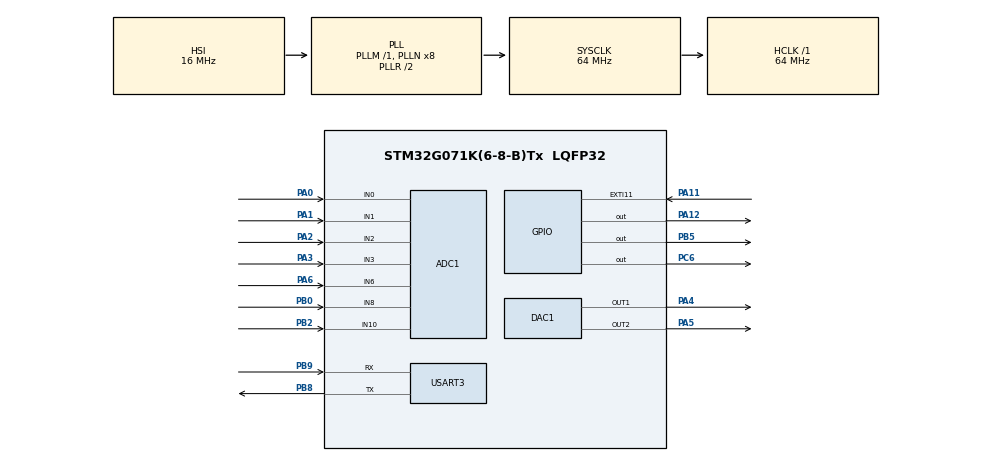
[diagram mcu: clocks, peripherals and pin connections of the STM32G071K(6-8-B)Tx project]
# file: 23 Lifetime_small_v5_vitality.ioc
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ADC1.Channel-0\#ChannelRegularConversion=ADC_CHANNEL_1
ADC1.Channel-1\#ChannelRegularConversion=ADC_CHANNEL_0
ADC1.Channel-2\#ChannelRegularConversion=ADC_CHANNEL_2
ADC1.Channel-3\#ChannelRegularConversion=ADC_CHANNEL_3
ADC1.Channel-4\#ChannelRegularConversion=ADC_CHANNEL_6
ADC1.Channel-5\#ChannelRegularConversion=ADC_CHANNEL_8
ADC1.Channel-6\#ChannelRegularConversion=ADC_CHANNEL_10
ADC1.Channel-7\#ChannelRegularConversion=ADC_CHANNEL_1
ADC1.ContinuousConvMode=ENABLE
ADC1.DMAContinuousRequests=ENABLE
ADC1.EOCSelection=ADC_EOC_SEQ_CONV
ADC1.NbrOfConversion=8
ADC1.NbrOfConversionFlag=1
ADC1.Overrun=ADC_OVR_DATA_OVERWRITTEN
ADC1.OversamplingMode=DISABLE
ADC1.Rank-0\#ChannelRegularConversion=1
ADC1.Rank-1\#ChannelRegularConversion=2
ADC1.Rank-2\#ChannelRegularConversion=3
ADC1.Rank-3\#ChannelRegularConversion=4
ADC1.Rank-4\#ChannelRegularConversion=5
ADC1.Rank-5\#ChannelRegularConversion=6
ADC1.Rank-6\#ChannelRegularConversion=7
ADC1.Rank-7\#ChannelRegularConversion=8
ADC1.SamplingTime-0\#ChannelRegularConversion=ADC_SAMPLINGTIME_COMMON_1
ADC1.SamplingTime-1\#ChannelRegularConversion=ADC_SAMPLINGTIME_COMMON_1
ADC1.SamplingTime-2\#ChannelRegularConversion=ADC_SAMPLINGTIME_COMMON_1
ADC1.SamplingTime-3\#ChannelRegularConversion=ADC_SAMPLINGTIME_COMMON_1
ADC1.SamplingTime-4\#ChannelRegularConversion=ADC_SAMPLINGTIME_COMMON_1
ADC1.SamplingTime-5\#ChannelRegularConversion=ADC_SAMPLINGTIME_COMMON_1
ADC1.SamplingTime-6\#ChannelRegularConversion=ADC_SAMPLINGTIME_COMMON_1
ADC1.SamplingTime-7\#ChannelRegularConversion=ADC_SAMPLINGTIME_COMMON_1
ADC1.SamplingTimeCommon1=ADC_SAMPLETIME_19CYCLES_5
ADC1.SamplingTimeCommon2=ADC_SAMPLETIME_19CYCLES_5
ADC1.SelectedChannel=ADC_CHANNEL_0|ADC_CHANNEL_1|ADC_CHANNEL_2|ADC_CHANNEL_3|ADC_CHANNEL_6|ADC_CHANNEL_8|ADC_CHANNEL_10
ADC1.master=1
DAC1.DAC_Channel-DAC_OUT1=DAC_CHANNEL_1
DAC1.DAC_Channel-DAC_OUT2=DAC_CHANNEL_2
Dma.ADC1.0.Direction=DMA_PERIPH_TO_MEMORY
Dma.ADC1.0.EventEnable=DISABLE
Dma.ADC1.0.Instance=DMA1_Channel1
Dma.ADC1.0.MemDataAlignment=DMA_MDATAALIGN_WORD
Dma.ADC1.0.MemInc=DMA_MINC_ENABLE
Dma.ADC1.0.Mode=DMA_CIRCULAR
Dma.ADC1.0.PeriphDataAlignment=DMA_PDATAALIGN_WORD
Dma.ADC1.0.PeriphInc=DMA_PINC_DISABLE
Dma.ADC1.0.Polarity=HAL_DMAMUX_REQ_GEN_RISING
Dma.ADC1.0.Priority=DMA_PRIORITY_VERY_HIGH
Dma.ADC1.0.RequestNumber=1
Dma.ADC1.0.SignalID=NONE
Dma.ADC1.0.SyncEnable=DISABLE
Dma.ADC1.0.SyncPolarity=HAL_DMAMUX_SYNC_NO_EVENT
Dma.ADC1.0.SyncRequestNumber=1
Dma.ADC1.0.SyncSignalID=NONE
Dma.Request0=ADC1
Dma.Request1=USART3_TX
Dma.USART3_TX.1.Direction=DMA_MEMORY_TO_PERIPH
Dma.USART3_TX.1.EventEnable=DISABLE
Dma.USART3_TX.1.Instance=DMA1_Channel2
Dma.USART3_TX.1.MemDataAlignment=DMA_MDATAALIGN_BYTE
Dma.USART3_TX.1.MemInc=DMA_MINC_ENABLE
Dma.USART3_TX.1.Mode=DMA_NORMAL
Dma.USART3_TX.1.PeriphDataAlignment=DMA_PDATAALIGN_BYTE
Dma.USART3_TX.1.PeriphInc=DMA_PINC_DISABLE
Dma.USART3_TX.1.Polarity=HAL_DMAMUX_REQ_GEN_RISING
Dma.USART3_TX.1.Priority=DMA_PRIORITY_MEDIUM
Dma.USART3_TX.1.RequestNumber=1
Dma.USART3_TX.1.SignalID=NONE
Dma.USART3_TX.1.SyncEnable=DISABLE
Dma.USART3_TX.1.SyncPolarity=HAL_DMAMUX_SYNC_NO_EVENT
Dma.USART3_TX.1.SyncRequestNumber=1
Dma.USART3_TX.1.SyncSignalID=NONE
LPTIM1.ClockPrescaler=LPTIM_PRESCALER_DIV128
Mcu.Family=STM32G0
Mcu.Name=STM32G071K(6-8-B)Tx
Mcu.Package=LQFP32
NVIC.ADC1_COMP_IRQn=true\:1\:0\:true\:false\:true\:true\:true\:true
NVIC.DMA1_Channel1_IRQn=true\:1\:0\:true\:false\:true\:false\:true\:true
NVIC.DMA1_Channel2_3_IRQn=true\:1\:0\:true\:false\:true\:false\:true\:true
NVIC.EXTI4_15_IRQn=true\:0\:0\:false\:false\:true\:true\:true\:true
NVIC.PVD_IRQn=true\:1\:0\:true\:false\:true\:true\:true\:true
NVIC.TIM16_IRQn=true\:2\:0\:true\:false\:true\:true\:true\:true
NVIC.TIM6_DAC_LPTIM1_IRQn=true\:1\:0\:true\:false\:true\:true\:true\:true
NVIC.USART3_4_LPUART1_IRQn=true\:2\:0\:true\:false\:true\:true\:true\:true
PA0.Mode=IN0
PA0.Signal=ADC1_IN0
PA1.Mode=IN1
PA1.Signal=ADC1_IN1
PA10.Signal=S_TIM1_CH3
PA11\ [PA9].GPIO_ModeDefaultEXTI=GPIO_MODE_IT_RISING_FALLING
PA11\ [PA9].GPIO_PuPd=GPIO_NOPULL
PA11\ [PA9].Signal=GPXTI11
PA12\ [PA10].Signal=GPIO_Output
PA13.Mode=Serial_Wire
PA13.Signal=SYS_SWDIO
PA14-BOOT0.Mode=Serial_Wire
PA14-BOOT0.Signal=SYS_SWCLK
PA2.Mode=IN2
PA2.Signal=ADC1_IN2
PA3.Mode=IN3
PA3.Signal=ADC1_IN3
PA4.Signal=COMP_DAC11_group
PA5.Signal=COMP_DAC12_group
PA6.Mode=IN6
PA6.Signal=ADC1_IN6
PA9.Signal=S_TIM1_CH2
PB0.Mode=IN8
PB0.Signal=ADC1_IN8
PB1.Signal=TIM1_CH3N
PB2.Mode=IN10
PB2.Signal=ADC1_IN10
PB5.Signal=GPIO_Output
PB8.Mode=Asynchronous
PB8.Signal=USART3_TX
PB9.Mode=Asynchronous
PB9.Signal=USART3_RX
PC6.GPIO_Speed=GPIO_SPEED_FREQ_HIGH
PC6.Signal=GPIO_Output
ProjectManager.HeapSize=0x200
ProjectManager.StackSize=0x400
ProjectManager.TargetToolchain=STM32CubeIDE
RCC.ADCFreq_Value=64000000
RCC.AHBFreq_Value=64000000
RCC.CortexFreq_Value=64000000
RCC.EXTERNAL_CLOCK_VALUE=48000
RCC.FLatency-AdvancedSettings=FLASH_LATENCY_2
RCC.HCLKFreq_Value=64000000
RCC.HSE_VALUE=8000000
RCC.HSI_VALUE=16000000
RCC.LPTIM1CLockSelection=RCC_LPTIM1CLKSOURCE_LSI
RCC.LSE_VALUE=32768
RCC.SYSCLKFreq_VALUE=64000000
RCC.SYSCLKSource=RCC_SYSCLKSOURCE_PLLCLK
RCC.VCOOutputFreq_Value=128000000
SH.COMP_DAC11_group.0=DAC1_OUT1,DAC_OUT1
SH.COMP_DAC12_group.0=DAC1_OUT2,DAC_OUT2
SH.S_TIM1_CH2.0=TIM1_CH2
SH.S_TIM1_CH3.0=TIM1_CH3
TIM16.Channel=TIM_CHANNEL_1
TIM16.Period=1000
TIM16.Prescaler=64000
TIM16.Pulse=999
USART3.VirtualMode-Asynchronous=VM_ASYNC
VP_CRC_VS_CRC.Mode=CRC_Activate
VP_LPTIM1_VS_LPTIM_counterModeInternalClock.Mode=Counts__internal_clock_event_00
VP_SYS_VS_DBSignals.Mode=DisableDeadBatterySignals
VP_TIM16_VS_ClockSourceINT.Mode=Enable_Timer
VP_TIM16_VS_no_output1.Mode=Output Compare1 No Output
board=custom

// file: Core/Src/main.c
/* USER CODE BEGIN Header */
/**
 * Programm für Stromtreiber_3A_lifetime_v4 Platine
 * Versuch der Leistungsregelung über die Photodiode und Ausgabe der Lebensdauer in %
 * Strom-Temp-Kennlinie für 76mW abgelegt
 * Funktion sehr gut, siehe Messreport, jetzt mit dig Modulation
  ******************************************************************************
  * @file           : main.c
  * @brief          : Main program body
  ******************************************************************************
  * @attention
  *
  * <h2><center>&copy; Copyright (c) 2020 STMicroelectronics.
  * All rights reserved.</center></h2>
  *
  * This software component is licensed by ST under BSD 3-Clause license,
  * the "License"; You may not use this file except in compliance with the
  * License. You may obtain a copy of the License at:
  *                        opensource.org/licenses/BSD-3-Clause
  *
  ******************************************************************************
  */
/* USER CODE END Header */
#include "main.h"

/* USER CODE BEGIN Includes */
#include <stdio.h>
#include<string.h>
#include <inttypes.h>
#include <math.h>
#include "blau_flash_minimal.h"
#include "communication.h"
//#include "blau_flash.h"
/* USER CODE END Includes */

/* USER CODE BEGIN PD */
#define ADC_channels 8
#define Ringbuffer_Size 150
//#define laser 1// rotes Modul
//#define laser 2// grünes Modul
#define laser 3// blaues Modul

#define PWM_period 50
#define PWM_duty 10

/* USER CODE END PD */

ADC_HandleTypeDef hadc1;
DMA_HandleTypeDef hdma_adc1;

CRC_HandleTypeDef hcrc;

DAC_HandleTypeDef hdac1;

LPTIM_HandleTypeDef hlptim1;

TIM_HandleTypeDef htim16;

UART_HandleTypeDef huart3;
DMA_HandleTypeDef hdma_usart3_tx;

/* USER CODE BEGIN PV */
uint32_t ADC_ringbuffer[ADC_channels*Ringbuffer_Size];
//uint32_t ADC_mean[ADC_channels*Ringbuffer_Size];
uint32_t ADC_count=0;
uint32_t PWM_count = 0;
uint32_t ADC_mean[ADC_channels];
//uint32_t ADC_test[Ringbuffer_Size];
float pd;
int16_t temp;
uint32_t current;
uint32_t teccurrent;
uint8_t str[200]="leer";
uint16_t u_ref=3300;
uint16_t modmax=3056;
uint16_t udmax=4000;
//uint16_t udhalf=3319;
uint16_t sdmin=0;
uint16_t smmin=50;
uint16_t sdhalf=3319;
uint16_t sdmax=4000;
uint16_t smmax=2460;
uint16_t tecvalue=0;
int32_t integral=0;
//uint16_t solltemp=2500;
uint16_t teccontrol=0;
uint16_t tecmax=3700;
float teccalc=0;
float v=0.5;
float h=0.1;
float m=2.0;
uint16_t pdset;
//Muster-NR319
//#ifdef laser==1
//	uint16_t pdset=1210;
//#endif
////Muster-Nr326
//#ifdef laser==2
//	uint16_t pdset=2800;//540;//2050;
//#endif
uint64_t m_pointer;
uint16_t version=1;
extern uint32_t bfmin_lifetime_in_minutes;
extern uint32_t bfmin_restarts;

volatile uint16_t mycounter1;
volatile uint16_t mycounter2;
volatile uint16_t mydelay;
uint16_t dutymax=20;
uint16_t pulselengthmax=380;
uint16_t pulsebreakmin=50;
uint16_t laserenable=1;

uint16_t dac_value=2500;
uint16_t ampli=1600;
volatile uint8_t ADC_ready=1;
uint8_t adc_stop = 1;
uint8_t ringbuffer_lock = 0; //
uint32_t Ringbuffer_PTR;
uint32_t M2M_ADC_CNT;
uint32_t M2M_PWM_CNT;
uint8_t adc_busy = 0;
uint8_t adc_restart_but_discard_last = 0;
volatile uint8_t enablelaser=1;
uint8_t overtemp=0;
volatile uint8_t adc_ready=0;
uint16_t len;
uint16_t life;
uint16_t life_mean=100;
uint16_t life_count=0;
int16_t life_flash=100;
uint8_t print=0;
uint16_t pdsig;
int pflag=0; //flag for enabling serial print
int start_command=0; //flag
int dly =15;//delay for changing rs485 to sending mode
uint16_t serial_flash;//stores serial in flash memory
uint8_t befehl[30]="";
uint8_t pos=0;
//uint16_t v=1;
//int16_t temp=250;
//int16_t solltemp=250;
volatile uint32_t dacadresse=0;
uint16_t dac_min=500;
uint64_t printversion=3;
//uint32_t bflash_active_page_address=0, bflash_active_write_address=0,bflash_active_read_address=0;

 /*
  * Debugging variables
  */
uint32_t main_cycle_count=0;
/* USER CODE END PV */

void SystemClock_Config(void);
static void MX_GPIO_Init(void);
static void MX_DMA_Init(void);
static void MX_USART3_UART_Init(void);
static void MX_ADC1_Init(void);
static void MX_DAC1_Init(void);
static void MX_CRC_Init(void);
static void MX_LPTIM1_Init(void);
static void MX_TIM16_Init(void);
/* USER CODE BEGIN PFP */
int16_t readThermistor(uint16_t);
uint32_t interpolateDac(uint32_t mod);
uint16_t lifetime(float current, float temperature);
uint16_t tempcomp(float current, float temperature);
void update_life_flash(uint16_t actlife);
void TIM14_Callback();
//void DMA_M2M_CB();
/* USER CODE END PFP */

int main(void)
{
  /* USER CODE BEGIN 1 */
if (laser==1)
	 pdset=1900;//1210;
//Muster-Nr326: 200mv->1550
if (laser==2)
	pdset=1650;//540;//2050;
if (laser==3)
	pdset=2100;
	//char uart_data[]="test";
  /* USER CODE END 1 */

  /* MCU Configuration--------------------------------------------------------*/

  /* Reset of all peripherals, Initializes the Flash interface and the Systick. */
  HAL_Init();

  /* Configure the system clock */
  SystemClock_Config();

  /* Initialize all configured peripherals */
  MX_GPIO_Init();
  MX_DMA_Init();
  MX_USART3_UART_Init();
  MX_ADC1_Init();
  MX_DAC1_Init();
  MX_CRC_Init();
  MX_LPTIM1_Init();
  MX_TIM16_Init();
  /* USER CODE BEGIN 2 */
  //HAL_NVIC_DisableIRQ(EXTI4_15_IRQn); //Disable EXTI interrupt

  //htim16.Instance->ARR = PWM_period;
  //htim16.Instance->CCR1 = PWM_duty;

  //HAL_TIM_PWM_Start(&htim16, TIM_CHANNEL_1); //Start PWM Generator ###FOR DEVELOPMENT USE ONLY###
   //__HAL_TIM_DISABLE_IT(&htim14,TIM_IT_CC1);
   //__HAL_TIM_ENABLE_IT(&htim16,TIM_IT_UPDATE);

  //HAL_DMA_RegisterCallback(&hdma_memtomem_dma1_channel3, HAL_DMA_XFER_CPLT_CB_ID, (void *)DMA_M2M_CB);
 // bflash_reset_memory();
  //bflash_bo_init();
  //bflash_print_last_entry();
	//bflash_entry entr;
	//bflash_read_entry(bflash_active_read_address, &entr);
	//bflash_print_entry(entr);
  //HAL_TIM_Base_Start_IT(&htim17);
  HAL_ADCEx_Calibration_Start(&hadc1);

  HAL_DAC_Start(&hdac1,DAC_CHANNEL_1);
  dacadresse=(DAC1_BASE+0x08);

  //HAL_DAC_Start(&hdac1,DAC_CHANNEL_2);

  //__HAL_DMA_DISABLE_IT(&hdma_adc1, DMA_IT_HT); //Disable half transfer interrupt, saves time
  //HAL_NVIC_EnableIRQ(TIM1_CC_IRQn);
  //HAL_NVIC_EnableIRQ(TIM2_IRQn);
  //HAL_NVIC_EnableIRQ(TIM3_IRQn);
 // HAL_TIM_Base_Start(&htim14);
  //HAL_TIM_OC_Start_IT(&htim14, TIM_CHANNEL_1);  //misst Anzeit
  //HAL_TIM_OC_Start_IT(&htim15, TIM_CHANNEL_1);  //misst Pausenzeit
  //TIM15->CCR1=pulselengthmax*100/dutymax;   // maximale Pausenzeit setzten
 // TIM14->CCR1=pulselengthmax;
 // HAL_TIM_OC_Start_IT(&htim16, TIM_CHANNEL_1);
  HAL_TIM_Base_Start_IT(&htim16);
 // HAL_TIM_Base_Start(&htim17);
  //__HAL_TIM_ENABLE(&htim17);
 // __HAL_TIM_ENABLE_IT(&htim14,TIM_IT_UPDATE);
 // __HAL_TIM_ENABLE_IT(&htim14,TIM_IT_CC1);
  //TIM14->CCER=1;

  //__HAL_TIM_ENABLE_IT(&htim15,TIM_IT_UPDATE);

 //HAL_TIM_OnePulse_Start_IT(&htim14, TIM_CHANNEL_1);
 // __HAL_TIM_ENABLE_IT(&htim14,TIM_IT_UPDATE);
 // __HAL_TIM_ENABLE_IT(&htim14,TIM_IT_CC1);
  //TIM_CCxChannelCmd(&htim14, TIM_CHANNEL_1, TIM_CCx_ENABLE);
  //__HAL_TIM_ENABLE(&htim14);
  //HAL_TIM_PWM_Start_IT(&htim14, TIM_CHANNEL_1);
  //HAL_TIM_OC_Start_IT(&htim2, TIM_CHANNEL_1);
  //__HAL_TIM_ENABLE_IT(&htim3,TIM_IT_CC1);
  //HAL_TIM_OnePulse_Start_IT(&htim2, TIM_CHANNEL_1);
  //HAL_TIM_PWM_Start(&htim1, TIM_CHANNEL_3);
  //HAL_TIMEx_PWMN_Start(&htim1, TIM_CHANNEL_3);
 // HAL_TIM_PWM_Start(&htim1, TIM_CHANNEL_1);
 // HAL_TIMEx_PWMN_Start(&htim1, TIM_CHANNEL_1);

 // __HAL_TIM_ENABLE_IT(&htim2,TIM_IT_CC1);
 // TIM_CCxChannelCmd(&htim2, TIM_CHANNEL_1, TIM_CCx_ENABLE);

  //__HAL_TIM_ENABLE_IT(&htim3,TIM_IT_CC1);
  //TIM_CCxChannelCmd(&htim3, TIM_CHANNEL_1, TIM_CCx_ENABLE);
  //__HAL_TIM_ENABLE(&htim2);

  /* USER CODE END 2 */

  /* Infinite loop */
  /* USER CODE BEGIN WHILE */
  //dac_value=2500;
  //GPIOC->BRR = (uint32_t)GPIO_PIN_6;
  //HAL_TIM_Base_Start_IT(&htim15);

 HAL_NVIC_EnableIRQ(EXTI4_15_IRQn);
  //HAL_NVIC_EnableIRQ(EXTI0_1_IRQn); //Enable EXTI Interrupt
 // HAL_NVIC_EnableIRQ(DMA1_Channel1_IRQn); //Enable ADC DMA Interrupt
  HAL_ADC_Start_DMA(&hadc1, (uint32_t*)ADC_ringbuffer,ADC_channels*Ringbuffer_Size);

//  HAL_NVIC_EnableIRQ(USART3_4_LPUART1_IRQn);
  HAL_UART_Receive_IT(&huart3, befehl, 1);

	bfmin_init();
//	bfmin_reset_memory();
//	//bfmin_store_parameter(6,(uint64_t) 100); //reset life_flash to 100
//	//bfmin_print_lifetime();
//	bfmin_read_parameter(2, &m_pointer);
//	sdmin=(uint32_t)m_pointer;
//	bfmin_read_parameter(3, &m_pointer);
//	m=(float)m_pointer/4096;
	bfmin_read_parameter(5,&m_pointer);
	printversion=(uint16_t)m_pointer;
	bfmin_read_parameter(6,&m_pointer);
	life_flash=(int16_t)m_pointer;

	bfmin_read_parameter(7,&m_pointer);//setting the pointer to index 7 from flash memory
	serial_flash=(uint16_t)m_pointer;// assigning that index value to serial_flash(int)

	//HAL_TIM_OC_Start_IT(&htim2, TIM_CHANNEL_1);
  //HAL_ADC_Start_DMA(&hadc1, pData, Length);
//  uint32_t v=0;
  //calculateinterpol();
  //if(HAL_GPIO_ReadPin(GPIOA,GPIO_PIN_11))
	HAL_GPIO_WritePin(GPIOC, GPIO_PIN_6, GPIO_PIN_SET);
  while (1)
  {

	  //for(int i =0;i<10;i++);
	  //main_cycle_count++;
	 	//dac_value=ADC_mean[4];
	 // HAL_Delay(100);
	  //TIM1->CCR1=(uint32_t)v++;
	  //if(v>10)
		//  v=0;
		//sprintf(str,"ADC4 %" PRIu16 "\n\r", ADC_ringbuffer[4])
		//HAL_DAC_SetValue(&hdac1, DAC_CHANNEL_1 , DAC_ALIGN_12B_R, dac_value);
		if(adc_ready==1){
			adc_ready=0;
			//mydelay=__HAL_TIM_GET_COUNTER(&htim14);
			ADC_mean[0]=0;
			ADC_mean[1]=0;
			ADC_mean[2]=0;
			ADC_mean[3]=0;
			ADC_mean[4]=0;
			ADC_mean[5]=0;

			//ADC_mean[5]=0;
			ADC_count=0;
			for(int i=0;i<Ringbuffer_Size;i++){
				if((ADC_ringbuffer[7+i*8]>1000)&(ADC_ringbuffer[i*8]>1000)){
					ADC_mean[1]+=ADC_ringbuffer[2+8*i];
					ADC_mean[2]+=ADC_ringbuffer[3+8*i];
					ADC_mean[3]+=ADC_ringbuffer[4+8*i];  //PD
			//		life=lifetime((float)ADC_mean[3],(float)ADC_mean[0]);
//					if(print==1){
//						len = sprintf(str,"i=%d;%d;%d;%d;%d;%d;%d \r\n",i,ADC_ringbuffer[i],ADC_ringbuffer[i+1],ADC_ringbuffer[i+2],ADC_ringbuffer[i+3],ADC_ringbuffer[i+4],ADC_ringbuffer[i+5]);
						//HAL_UART_Transmit_DMA(&huart3, str, len);
//					}
					ADC_count++;
				}
				ADC_mean[0]+=ADC_ringbuffer[1+8*i];  //temp
				ADC_mean[4]+=ADC_ringbuffer[5+8*i];  //mod
				ADC_mean[5]+=ADC_ringbuffer[6+8*i];
			//	ADC_test[i]=ADC_ringbuffer[4+8*i];

			}
			//for(int i=0;i<Ringbuffer_Size*ADC_channels;i++){
			//	ADC_ringbuffer[i]=0;
			//}
			//ADC_mean[0]=ADC_mean[0]*u_ref/4095/Ringbuffer_Size;
			temp=readThermistor((uint16_t)(ADC_mean[0]*u_ref/4095/Ringbuffer_Size));  //temp NTC 10K
			ADC_mean[4]=ADC_mean[4]*u_ref/4095/Ringbuffer_Size; //Mod in D, alt:PD
			ADC_mean[5]=ADC_mean[5]*u_ref/4095/Ringbuffer_Size; //I_Tec
			if(ADC_count>10){
				//ADC_mean[0]=ADC_mean[0]*u_ref/4095/ADC_count-600;  //temp LM61

				ADC_mean[1]=ADC_mean[1]*u_ref/4095/ADC_count; //UCollektor, alt: mod in
				current=ADC_mean[2]*u_ref/4095/ADC_count;  //I, alt:U collector
				pdsig=ADC_mean[3]*u_ref/4095/ADC_count; //PD, alt: I Laserdiode

			}
			//temp=ADC_mean[0];
			pd=(float)pdsig;
			//current=ADC_mean[2]/3.6;
			teccurrent=ADC_mean[5]*2;

			if(temp>4500)
				overtemp=1;
			if(temp<4000)
				overtemp=0;
			__disable_irq();
			if((HAL_GPIO_ReadPin(GPIOC, GPIO_PIN_6)==GPIO_PIN_SET)&(ADC_count>10)){
//				//Muster-NR319
	        if (laser==1){
				if(pdsig<(pdset))
					dac_value--;
				if(pdsig>(pdset))
					dac_value++;
			}
				//Muster-NR326
			if (laser==2){
				if(pdsig<(pdset))
					dac_value++;
				if(pdsig>(pdset))
					dac_value--;
			}
	        if (laser==3){
				if(pdsig<(pdset))
					dac_value--;
				if(pdsig>(pdset))
					dac_value++;
			}
				//----------------------------
				//dac_value=2650;
				if(dac_value>4000)
						dac_value=4000;
				if(dac_value<1)
						dac_value=1;
				if(overtemp){
					dac_value=0;
					//__disable_irq();
					HAL_DAC_SetValue(&hdac1, DAC_CHANNEL_1 , DAC_ALIGN_12B_R, (uint32_t)dac_value);
					//__enable_irq();
				}
				//__disable_irq();
				ampli=dac_value;
				//*(uint32_t*)(dacadresse)=(uint32_t)ampli;
				HAL_DAC_SetValue(&hdac1, DAC_CHANNEL_1 , DAC_ALIGN_12B_R, (uint32_t)dac_value);

			//	__disable_irq();
			//	HAL_DAC_SetValue(&hdac1, DAC_CHANNEL_1 , DAC_ALIGN_12B_R, 1960);
			//	ampli=1960;
				//__enable_irq();
				//ampli=dac_value;
			}
			__enable_irq();
//			else{
//				HAL_DAC_SetValue(&hdac1, DAC_CHANNEL_1 , DAC_ALIGN_12B_R, (uint32_t)dac_min);
//				ampli=dac_value;
//			}
			//__enable_irq();
			//TIM1->CCR3=(uint32_t)(ADC_mean[4]/25);
//			if((teccontrol)){
//				teccalc=((float)temp-(float)solltemp)*v+h*(float)integral;
//				if(print==1){
//					if((temp>solltemp)&(integral<1000))
//						integral++;
//					else if(integral>1)
//						integral--;
//				}
//				if((teccalc>(float)tecvalue)&(teccurrent<tecmax))
//					tecvalue++;
//				else if((teccalc<(float)tecvalue)&(tecvalue>1))
//					tecvalue--;
//			}
			//if(tecvalue>100)
			//	tecvalue=100;

//			TIM1->CCR3=(uint32_t)tecvalue;

			if(print==1){
				print=0;
				if((dac_value>dac_min)&(ADC_count>10)){
					life=lifetime((float)current,(float)temp);
					life_mean=life_mean+life/100;
					life_count++;
				}
			}

				//__HAL_TIM_SetCounter(&htim14,0);
				HAL_ADC_Start_DMA(&hadc1, (uint32_t*)ADC_ringbuffer,ADC_channels*Ringbuffer_Size);

		}

    /* USER CODE END WHILE */

  }
}

void SystemClock_Config(void)
{
  RCC_OscInitTypeDef RCC_OscInitStruct = {0};
  RCC_ClkInitTypeDef RCC_ClkInitStruct = {0};

  /** Configure the main internal regulator output voltage
  */
  HAL_PWREx_ControlVoltageScaling(PWR_REGULATOR_VOLTAGE_SCALE1);

  /** Initializes the RCC Oscillators according to the specified parameters
  * in the RCC_OscInitTypeDef structure.
  */
  RCC_OscInitStruct.OscillatorType = RCC_OSCILLATORTYPE_HSI|RCC_OSCILLATORTYPE_LSI;
  RCC_OscInitStruct.HSIState = RCC_HSI_ON;
  RCC_OscInitStruct.HSIDiv = RCC_HSI_DIV1;
  RCC_OscInitStruct.HSICalibrationValue = RCC_HSICALIBRATION_DEFAULT;
  RCC_OscInitStruct.LSIState = RCC_LSI_ON;
  RCC_OscInitStruct.PLL.PLLState = RCC_PLL_ON;
  RCC_OscInitStruct.PLL.PLLSource = RCC_PLLSOURCE_HSI;
  RCC_OscInitStruct.PLL.PLLM = RCC_PLLM_DIV1;
  RCC_OscInitStruct.PLL.PLLN = 8;
  RCC_OscInitStruct.PLL.PLLP = RCC_PLLP_DIV2;
  RCC_OscInitStruct.PLL.PLLQ = RCC_PLLQ_DIV2;
  RCC_OscInitStruct.PLL.PLLR = RCC_PLLR_DIV2;
  if (HAL_RCC_OscConfig(&RCC_OscInitStruct) != HAL_OK)
  {
    Error_Handler();
  }

  /** Initializes the CPU, AHB and APB buses clocks
  */
  RCC_ClkInitStruct.ClockType = RCC_CLOCKTYPE_HCLK|RCC_CLOCKTYPE_SYSCLK
                              |RCC_CLOCKTYPE_PCLK1;
  RCC_ClkInitStruct.SYSCLKSource = RCC_SYSCLKSOURCE_PLLCLK;
  RCC_ClkInitStruct.AHBCLKDivider = RCC_SYSCLK_DIV1;
  RCC_ClkInitStruct.APB1CLKDivider = RCC_HCLK_DIV1;

  if (HAL_RCC_ClockConfig(&RCC_ClkInitStruct, FLASH_LATENCY_2) != HAL_OK)
  {
    Error_Handler();
  }
}

static void MX_ADC1_Init(void)
{

  ADC_ChannelConfTypeDef sConfig = {0};

  /** Configure the global features of the ADC (Clock, Resolution, Data Alignment and number of conversion)
  */
  hadc1.Instance = ADC1;
  hadc1.Init.ClockPrescaler = ADC_CLOCK_SYNC_PCLK_DIV2;
  hadc1.Init.Resolution = ADC_RESOLUTION_12B;
  hadc1.Init.DataAlign = ADC_DATAALIGN_RIGHT;
  hadc1.Init.ScanConvMode = ADC_SCAN_ENABLE;
  hadc1.Init.EOCSelection = ADC_EOC_SEQ_CONV;
  hadc1.Init.LowPowerAutoWait = DISABLE;
  hadc1.Init.LowPowerAutoPowerOff = DISABLE;
  hadc1.Init.ContinuousConvMode = ENABLE;
  hadc1.Init.NbrOfConversion = 8;
  hadc1.Init.ExternalTrigConv = ADC_SOFTWARE_START;
  hadc1.Init.ExternalTrigConvEdge = ADC_EXTERNALTRIGCONVEDGE_NONE;
  hadc1.Init.DMAContinuousRequests = ENABLE;
  hadc1.Init.Overrun = ADC_OVR_DATA_OVERWRITTEN;
  hadc1.Init.SamplingTimeCommon1 = ADC_SAMPLETIME_19CYCLES_5;
  hadc1.Init.SamplingTimeCommon2 = ADC_SAMPLETIME_19CYCLES_5;
  hadc1.Init.OversamplingMode = DISABLE;
  hadc1.Init.TriggerFrequencyMode = ADC_TRIGGER_FREQ_HIGH;
  if (HAL_ADC_Init(&hadc1) != HAL_OK)
  {
    Error_Handler();
  }

  /** Configure Regular Channel
  */
  sConfig.Channel = ADC_CHANNEL_1;
  sConfig.Rank = ADC_REGULAR_RANK_1;
  sConfig.SamplingTime = ADC_SAMPLINGTIME_COMMON_1;
  if (HAL_ADC_ConfigChannel(&hadc1, &sConfig) != HAL_OK)
  {
    Error_Handler();
  }

  /** Configure Regular Channel
  */
  sConfig.Channel = ADC_CHANNEL_0;
  sConfig.Rank = ADC_REGULAR_RANK_2;
  if (HAL_ADC_ConfigChannel(&hadc1, &sConfig) != HAL_OK)
  {
    Error_Handler();
  }

  /** Configure Regular Channel
  */
  sConfig.Channel = ADC_CHANNEL_2;
  sConfig.Rank = ADC_REGULAR_RANK_3;
  if (HAL_ADC_ConfigChannel(&hadc1, &sConfig) != HAL_OK)
  {
    Error_Handler();
  }

  /** Configure Regular Channel
  */
  sConfig.Channel = ADC_CHANNEL_3;
  sConfig.Rank = ADC_REGULAR_RANK_4;
  if (HAL_ADC_ConfigChannel(&hadc1, &sConfig) != HAL_OK)
  {
    Error_Handler();
  }

  /** Configure Regular Channel
  */
  sConfig.Channel = ADC_CHANNEL_6;
  sConfig.Rank = ADC_REGULAR_RANK_5;
  if (HAL_ADC_ConfigChannel(&hadc1, &sConfig) != HAL_OK)
  {
    Error_Handler();
  }

  /** Configure Regular Channel
  */
  sConfig.Channel = ADC_CHANNEL_8;
  sConfig.Rank = ADC_REGULAR_RANK_6;
  if (HAL_ADC_ConfigChannel(&hadc1, &sConfig) != HAL_OK)
  {
    Error_Handler();
  }

  /** Configure Regular Channel
  */
  sConfig.Channel = ADC_CHANNEL_10;
  sConfig.Rank = ADC_REGULAR_RANK_7;
  if (HAL_ADC_ConfigChannel(&hadc1, &sConfig) != HAL_OK)
  {
    Error_Handler();
  }

  /** Configure Regular Channel
  */
  sConfig.Channel = ADC_CHANNEL_1;
  sConfig.Rank = ADC_REGULAR_RANK_8;
  if (HAL_ADC_ConfigChannel(&hadc1, &sConfig) != HAL_OK)
  {
    Error_Handler();
  }

}

static void MX_CRC_Init(void)
{

  hcrc.Instance = CRC;
  hcrc.Init.DefaultPolynomialUse = DEFAULT_POLYNOMIAL_ENABLE;
  hcrc.Init.DefaultInitValueUse = DEFAULT_INIT_VALUE_ENABLE;
  hcrc.Init.InputDataInversionMode = CRC_INPUTDATA_INVERSION_NONE;
  hcrc.Init.OutputDataInversionMode = CRC_OUTPUTDATA_INVERSION_DISABLE;
  hcrc.InputDataFormat = CRC_INPUTDATA_FORMAT_BYTES;
  if (HAL_CRC_Init(&hcrc) != HAL_OK)
  {
    Error_Handler();
  }

}

static void MX_DAC1_Init(void)
{

  DAC_ChannelConfTypeDef sConfig = {0};

  /** DAC Initialization
  */
  hdac1.Instance = DAC1;
  if (HAL_DAC_Init(&hdac1) != HAL_OK)
  {
    Error_Handler();
  }

  /** DAC channel OUT1 config
  */
  sConfig.DAC_SampleAndHold = DAC_SAMPLEANDHOLD_DISABLE;
  sConfig.DAC_Trigger = DAC_TRIGGER_NONE;
  sConfig.DAC_OutputBuffer = DAC_OUTPUTBUFFER_ENABLE;
  sConfig.DAC_ConnectOnChipPeripheral = DAC_CHIPCONNECT_DISABLE;
  sConfig.DAC_UserTrimming = DAC_TRIMMING_FACTORY;
  if (HAL_DAC_ConfigChannel(&hdac1, &sConfig, DAC_CHANNEL_1) != HAL_OK)
  {
    Error_Handler();
  }

  /** DAC channel OUT2 config
  */
  if (HAL_DAC_ConfigChannel(&hdac1, &sConfig, DAC_CHANNEL_2) != HAL_OK)
  {
    Error_Handler();
  }

}

static void MX_LPTIM1_Init(void)
{

  hlptim1.Instance = LPTIM1;
  hlptim1.Init.Clock.Source = LPTIM_CLOCKSOURCE_APBCLOCK_LPOSC;
  hlptim1.Init.Clock.Prescaler = LPTIM_PRESCALER_DIV128;
  hlptim1.Init.Trigger.Source = LPTIM_TRIGSOURCE_SOFTWARE;
  hlptim1.Init.OutputPolarity = LPTIM_OUTPUTPOLARITY_HIGH;
  hlptim1.Init.UpdateMode = LPTIM_UPDATE_IMMEDIATE;
  hlptim1.Init.CounterSource = LPTIM_COUNTERSOURCE_INTERNAL;
  hlptim1.Init.Input1Source = LPTIM_INPUT1SOURCE_GPIO;
  hlptim1.Init.Input2Source = LPTIM_INPUT2SOURCE_GPIO;
  if (HAL_LPTIM_Init(&hlptim1) != HAL_OK)
  {
    Error_Handler();
  }

}

static void MX_TIM16_Init(void)
{

  TIM_OC_InitTypeDef sConfigOC = {0};
  TIM_BreakDeadTimeConfigTypeDef sBreakDeadTimeConfig = {0};

  htim16.Instance = TIM16;
  htim16.Init.Prescaler = 64000;
  htim16.Init.CounterMode = TIM_COUNTERMODE_UP;
  htim16.Init.Period = 1000;
  htim16.Init.ClockDivision = TIM_CLOCKDIVISION_DIV1;
  htim16.Init.RepetitionCounter = 0;
  htim16.Init.AutoReloadPreload = TIM_AUTORELOAD_PRELOAD_DISABLE;
  if (HAL_TIM_Base_Init(&htim16) != HAL_OK)
  {
    Error_Handler();
  }
  if (HAL_TIM_OC_Init(&htim16) != HAL_OK)
  {
    Error_Handler();
  }
  sConfigOC.OCMode = TIM_OCMODE_TIMING;
  sConfigOC.Pulse = 999;
  sConfigOC.OCPolarity = TIM_OCPOLARITY_HIGH;
  sConfigOC.OCNPolarity = TIM_OCNPOLARITY_HIGH;
  sConfigOC.OCFastMode = TIM_OCFAST_DISABLE;
  sConfigOC.OCIdleState = TIM_OCIDLESTATE_RESET;
  sConfigOC.OCNIdleState = TIM_OCNIDLESTATE_RESET;
  if (HAL_TIM_OC_ConfigChannel(&htim16, &sConfigOC, TIM_CHANNEL_1) != HAL_OK)
  {
    Error_Handler();
  }
  sBreakDeadTimeConfig.OffStateRunMode = TIM_OSSR_DISABLE;
  sBreakDeadTimeConfig.OffStateIDLEMode = TIM_OSSI_DISABLE;
  sBreakDeadTimeConfig.LockLevel = TIM_LOCKLEVEL_OFF;
  sBreakDeadTimeConfig.DeadTime = 0;
  sBreakDeadTimeConfig.BreakState = TIM_BREAK_DISABLE;
  sBreakDeadTimeConfig.BreakPolarity = TIM_BREAKPOLARITY_HIGH;
  sBreakDeadTimeConfig.BreakFilter = 0;
  sBreakDeadTimeConfig.AutomaticOutput = TIM_AUTOMATICOUTPUT_DISABLE;
  if (HAL_TIMEx_ConfigBreakDeadTime(&htim16, &sBreakDeadTimeConfig) != HAL_OK)
  {
    Error_Handler();
  }

}

static void MX_USART3_UART_Init(void)
{

  huart3.Instance = USART3;
  huart3.Init.BaudRate = 115200;
  huart3.Init.WordLength = UART_WORDLENGTH_8B;
  huart3.Init.StopBits = UART_STOPBITS_1;
  huart3.Init.Parity = UART_PARITY_NONE;
  huart3.Init.Mode = UART_MODE_TX_RX;
  huart3.Init.HwFlowCtl = UART_HWCONTROL_NONE;
  huart3.Init.OverSampling = UART_OVERSAMPLING_16;
  huart3.Init.OneBitSampling = UART_ONE_BIT_SAMPLE_DISABLE;
  huart3.Init.ClockPrescaler = UART_PRESCALER_DIV1;
  huart3.AdvancedInit.AdvFeatureInit = UART_ADVFEATURE_NO_INIT;
  if (HAL_UART_Init(&huart3) != HAL_OK)
  {
    Error_Handler();
  }

}

static void MX_DMA_Init(void)
{

  /* DMA controller clock enable */
  __HAL_RCC_DMA1_CLK_ENABLE();

  /* DMA interrupt init */
  /* DMA1_Channel1_IRQn interrupt configuration */
  HAL_NVIC_SetPriority(DMA1_Channel1_IRQn, 1, 0);
  HAL_NVIC_EnableIRQ(DMA1_Channel1_IRQn);
  /* DMA1_Channel2_3_IRQn interrupt configuration */
  HAL_NVIC_SetPriority(DMA1_Channel2_3_IRQn, 1, 0);
  HAL_NVIC_EnableIRQ(DMA1_Channel2_3_IRQn);

}

static void MX_GPIO_Init(void)
{
  GPIO_InitTypeDef GPIO_InitStruct = {0};

  /* GPIO Ports Clock Enable */
  __HAL_RCC_GPIOB_CLK_ENABLE();
  __HAL_RCC_GPIOA_CLK_ENABLE();
  __HAL_RCC_GPIOC_CLK_ENABLE();

  /*Configure GPIO pin Output Level */
  HAL_GPIO_WritePin(GPIOC, GPIO_PIN_6, GPIO_PIN_RESET);

  /*Configure GPIO pin Output Level */
  HAL_GPIO_WritePin(GPIOA, GPIO_PIN_12, GPIO_PIN_RESET);

  /*Configure GPIO pin Output Level */
  HAL_GPIO_WritePin(GPIOB, GPIO_PIN_5, GPIO_PIN_RESET);

  /*Configure GPIO pin : PB1 */
  GPIO_InitStruct.Pin = GPIO_PIN_1;
  GPIO_InitStruct.Mode = GPIO_MODE_AF_PP;
  GPIO_InitStruct.Pull = GPIO_NOPULL;
  GPIO_InitStruct.Speed = GPIO_SPEED_FREQ_LOW;
  GPIO_InitStruct.Alternate = GPIO_AF2_TIM1;
  HAL_GPIO_Init(GPIOB, &GPIO_InitStruct);

  /*Configure GPIO pins : PA9 PA10 */
  GPIO_InitStruct.Pin = GPIO_PIN_9|GPIO_PIN_10;
  GPIO_InitStruct.Mode = GPIO_MODE_AF_PP;
  GPIO_InitStruct.Pull = GPIO_NOPULL;
  GPIO_InitStruct.Speed = GPIO_SPEED_FREQ_LOW;
  GPIO_InitStruct.Alternate = GPIO_AF2_TIM1;
  HAL_GPIO_Init(GPIOA, &GPIO_InitStruct);

  /*Configure GPIO pin : PC6 */
  GPIO_InitStruct.Pin = GPIO_PIN_6;
  GPIO_InitStruct.Mode = GPIO_MODE_OUTPUT_PP;
  GPIO_InitStruct.Pull = GPIO_NOPULL;
  GPIO_InitStruct.Speed = GPIO_SPEED_FREQ_HIGH;
  HAL_GPIO_Init(GPIOC, &GPIO_InitStruct);

  /*Configure GPIO pin : PA11 */
  GPIO_InitStruct.Pin = GPIO_PIN_11;
  GPIO_InitStruct.Mode = GPIO_MODE_IT_RISING_FALLING;
  GPIO_InitStruct.Pull = GPIO_NOPULL;
  HAL_GPIO_Init(GPIOA, &GPIO_InitStruct);

  /*Configure GPIO pin : PA12 */
  GPIO_InitStruct.Pin = GPIO_PIN_12;
  GPIO_InitStruct.Mode = GPIO_MODE_OUTPUT_PP;
  GPIO_InitStruct.Pull = GPIO_NOPULL;
  GPIO_InitStruct.Speed = GPIO_SPEED_FREQ_LOW;
  HAL_GPIO_Init(GPIOA, &GPIO_InitStruct);

  /*Configure GPIO pin : PB5 */
  GPIO_InitStruct.Pin = GPIO_PIN_5;
  GPIO_InitStruct.Mode = GPIO_MODE_OUTPUT_PP;
  GPIO_InitStruct.Pull = GPIO_NOPULL;
  GPIO_InitStruct.Speed = GPIO_SPEED_FREQ_LOW;
  HAL_GPIO_Init(GPIOB, &GPIO_InitStruct);

  /* EXTI interrupt init*/
  HAL_NVIC_SetPriority(EXTI4_15_IRQn, 0, 0);
  HAL_NVIC_EnableIRQ(EXTI4_15_IRQn);

}

/* USER CODE BEGIN 4 */

void HAL_GPIO_EXTI_Falling_Callback(uint16_t GPIO_Pin){
	__disable_irq;
	GPIOC->BRR = (uint32_t)GPIO_PIN_6;
		*(uint32_t*)(dacadresse)=(uint32_t)dac_min;   //laser ausschalten
	__enable_irq;
	//	__HAL_TIM_DISABLE(&htim17);
	//	__HAL_TIM_SET_COUNTER(&htim17,0);
	//	__HAL_TIM_ENABLE(&htim17);

}

void HAL_GPIO_EXTI_Rising_Callback(uint16_t GPIO_Pin){

	//	mycounter2=__HAL_TIM_GET_COUNTER(&htim17);
	//	mydelay=mycounter2;//-mycounter1;

		//if(mydelay>20){
		__disable_irq;
			*(uint32_t*)(dacadresse)=(uint32_t)ampli;
			GPIOC->BSRR = (uint32_t)GPIO_PIN_6;  //PIN um ADC anzuzeigen das LD an
		__enable_irq;
		//	__HAL_TIM_DISABLE(&htim17);
		//	__HAL_TIM_ENABLE(&htim15);
		//	if(mydelay<300){
		//		TIM15->ARR=mydelay/2;
		//	}
		//	else{
		//		TIM15->ARR=150;
		//	}
	}

		//	HAL_TIM_OnePulse_Start_IT(&htim14, TIM_CHANNEL_1);
	//	laserenable=0;
	//	__HAL_TIM_ENABLE(&htim14);
	//	__HAL_TIM_SET_COUNTER(&htim14,0);
	//	__HAL_TIM_DISABLE(&htim15);
//		TIM14->CCR1=pulselengthmax;
	//}
//	else if(mydelay>pulsebreakmin){
//		*(uint32_t*)(dacadresse)=(uint32_t)ampli;
//		GPIOC->BSRR = (uint32_t)GPIO_PIN_6;  //PIN um ADC anzuzeigen das LD an
//	//	laserenable=0;
//		__HAL_TIM_SET_COUNTER(&htim14,0);
//		TIM14->CCR1=mydelay*dutymax/100;
//	}
	//mydelay=mycounter2-mycounter1;

void HAL_ADC_ConvCpltCallback(ADC_HandleTypeDef* hadc)
{
	//GPIOA->BSRR = (uint32_t)GPIO_PIN_11;
//	if(!adc_stop) // If ADC is not locked
//	{
//		if(!ringbuffer_lock && !adc_restart_but_discard_last) //If ringbuffer is not locked
//		{
//			hadc->DMA_Handle->Instance->CMAR += 4*ADC_channels; //increment DMA destination by number of adc channels
//			if(hadc->DMA_Handle->Instance->CMAR >= (uint32_t)(&ADC_ringbuffer[ADC_channels*Ringbuffer_Size])) //if ringbuffer pointer exceeds its size
//			{
//				hadc->DMA_Handle->Instance->CMAR = (uint32_t)ADC_ringbuffer; //set DMA destination to ringbuffer start address
//			}
//			ADC_count++; //Increment number of conversions
//		}
//
//		__HAL_TIM_ENABLE(&htim6); //start adc trigger timer
//	}
	//adc_restart_but_discard_last = 0;
	//adc_busy = 0;
	//GPIOA->BRR = (uint32_t)GPIO_PIN_11;
	HAL_ADC_Stop_DMA(&hadc1);
	adc_ready=1;
}

//void TIM14_Callback(){
//	if(__HAL_TIM_GET_FLAG(&htim14,TIM_FLAG_CC1)==1){
//		__HAL_TIM_CLEAR_FLAG(&htim14,TIM_FLAG_CC1);
//		laserenable=0;
//		GPIOC->BRR = (uint32_t)GPIO_PIN_6;
//		*(uint32_t*)(dacadresse)=(uint32_t)dac_min;   //laser ausschalten
//
//	}
//	if(__HAL_TIM_GET_FLAG(&htim14,TIM_FLAG_UPDATE)==1){
//		__HAL_TIM_CLEAR_FLAG(&htim14,TIM_FLAG_UPDATE);
//		laserenable=1;
//		if(HAL_GPIO_ReadPin(GPIOA, GPIO_PIN_11)==GPIO_PIN_SET){
//			*(uint32_t*)(dacadresse)=(uint32_t)ampli;
//			GPIOC->BSRR = (uint32_t)GPIO_PIN_6;  //PIN um ADC anzuzeigen das LD an
//			__HAL_TIM_ENABLE(&htim14);
//		}
//	}
//}

//void TIM15_Callback(){
//	__HAL_TIM_CLEAR_FLAG(&htim15,TIM_FLAG_UPDATE);
//	if(HAL_GPIO_ReadPin(GPIOC, GPIO_PIN_6)==GPIO_PIN_SET){
//		GPIOC->BRR = (uint32_t)GPIO_PIN_6;
//		*(uint32_t*)(dacadresse)=(uint32_t)dac_min;   //laser ausschalten
//		//mycounter1=__HAL_TIM_GET_COUNTER(&htim17);
//		__HAL_TIM_DISABLE(&htim17);
//		__HAL_TIM_SET_COUNTER(&htim17,0);
//		__HAL_TIM_ENABLE(&htim17);
//	}
//}

void HAL_TIM_PeriodElapsedCallback(TIM_HandleTypeDef *htim){
	if(htim==&htim16)
		print=1;
}
uint8_t check_serial(int first){
	if(first==serial_flash){
		return (uint8_t)1;
	}
	else{
		return 0;
	}
}

////////////////////////////////////////////////////////////////////////////////////////////////////////////////////////////////////////////////////////
void printlen(){
	HAL_GPIO_WritePin(GPIOA, GPIO_PIN_12, GPIO_PIN_SET);//setting rs485 in sending mode
	HAL_Delay(dly);
	HAL_UART_Transmit_DMA(&huart3, str, len);
	HAL_Delay(dly);
	HAL_GPIO_WritePin(GPIOA, GPIO_PIN_12, GPIO_PIN_RESET);//setting rs485 in receiving mode
	//befehl[]='\0';
}

//will decode decode tha command based on befehl[3] and befehl[4] values and assign the string to len which needs to be print
void decode_command(){
	//for writing-
	if(befehl[3]=='w'){
		//-serial
		if(befehl[4]=='s'){
			//serial_flash=0;
			serial_flash=atoi(&befehl[5]);
			bfmin_store_parameter(7,(uint64_t)serial_flash);
			len=sprintf(str,"Write %d",serial_flash);
		}
		//- which version to print
		else if(befehl[4]=='v'){
			printversion=atoi(&befehl[5]);
			bfmin_store_parameter(5,(uint64_t)printversion);
			len=sprintf(str,"version set to %d",printversion);
		}
		//reset flash
		else if(befehl[4]=='r'){
			//reset life flash
			life_flash=100;
			bfmin_store_parameter(6,(uint64_t)life_flash);
			//reset serial flash
			serial_flash=1;
			bfmin_store_parameter(7,(uint64_t)serial_flash);
			len=sprintf(str,"Serial set to  %d; Life reset to %d",serial_flash,life_flash);
			printlen();
		}

		else{pflag=0;}//setting the flag again to 0 so that it does not print again if received any wrong befehl[4] value.

	}
	//for reading values from laser
	else if(befehl[3]=='r'){
		//reading serial
		if(befehl[4]=='s'){
			len=sprintf(str,"%d",serial_flash);
		}
		//read values in different versions
		else if(befehl[4]=='v'){
			if(printversion==1){
				len=sprintf(str,"Version%d\r%d\r%d\r%d\r%d\r\r",version,(uint16_t)((float)current/0.36),u_ref-pdsig,bfmin_lifetime_in_minutes/60,ADC_mean[0]);
			}
			else if(printversion==2){
				len=sprintf(str,"Version %d\r%d\r%d\r%d\r%d\r%d\r\r",2,(uint16_t)((float)current/0.36),u_ref-pdsig,bfmin_lifetime_in_minutes/60,ADC_mean[0],life/100);
			}
			else if(printversion==3){
				if(laser==2){
				len = sprintf( str," temp*100;%d;Uc: %d;I mA;%lu;PD mV;%d;count;%d; dac;%d; lifetime [min];%d; restarts; %d;life*100;%d;life_flash %d;delay %d \r",temp,ADC_mean[1],(int)(current/1.8),pdsig,ADC_count, dac_value,(int)bfmin_lifetime_in_minutes,bfmin_restarts,life,life_flash,mydelay);//,M2M_PWM_CNT);
				}
				else
				len=sprintf( str," temp*100;%d;Uc: %d;I mA*3.6;%d;PD mV;%d;count;%d; dac;%d; lifetime [min];%d; restarts; %d;life*100;%d;life_flash %d;delay %d \r",temp,ADC_mean[1],current,pdsig,ADC_count, dac_value,(int)bfmin_lifetime_in_minutes,bfmin_restarts,life,life_flash,mydelay);//,M2M_PWM_CNT);
			}

			else{pflag=0;}//setting the flag again to 0 so that it does not print again if received any wrong befehl[4] value.
		}
		else{pflag=0;}//setting the flag again to 0 so that it does not print again if received any wrong befehl[4] value.
	}
	else{pflag=0;}//setting the flag again to 0 so that it does not print again if received any wrong befehl[4] value.
}

void HAL_UART_RxCpltCallback(UART_HandleTypeDef *huart){

	if(befehl[pos]=='#' && start_command==0)
	{
				start_command=1;
	}

	else if (start_command==1 && befehl[pos]!='\0'){
		pos++;
	}

//	if(befehl[pos]!='\0')
//		pos++;

	else if (befehl[pos]=='\0' && start_command==1){
		start_command=0;
		pos=0;
		if(check_serial(atoi(&befehl[0]))){
			pflag=1;
			decode_command();
			if(pflag){
				printlen();
			}
		}

		if(strstr(befehl,"lifereset")){
			bfmin_store_parameter(6,(uint64_t) 100);
		}

	}
	else{
		//for getting life curve variables
		// will give the following data whenever any data is send
		if(0){
		len = sprintf( str,"temp*100;%d;Uc: %d;I mA*3.6;%d;PD mV;%d;count;%d; dac;%d; lifetime [min];%d; restarts; %d;life*100;%d;life_flash %d;delay %d \r",temp,ADC_mean[1],current,pdsig,ADC_count, dac_value,bfmin_lifetime_in_minutes,bfmin_restarts,life,life_flash,mydelay);//,M2M_PWM_CNT);
		printlen();
		}
		//reset flash value to 100
		if(0){
		bfmin_store_parameter(6,(uint64_t) 100);
		len=sprintf(str,"Life reset to %d",life_flash);
		}
		// store serial 001
		if(0){
		serial_flash=1;
		bfmin_store_parameter(7,(uint64_t)serial_flash);
		len=sprintf(str,"Write %d",serial_flash);
		printlen();
		}
	}
	HAL_UART_Receive_IT(&huart3, &(befehl[pos]), 1);
}

void calculateinterpol(){
//	//float dac=sdmin+m*mod;
//	sdmin=2*sdhalf-sdmax;
//	m=(float)(sdmax-sdmin)/((float)(smmax-smmin));
//	bfmin_store_parameter(2,(uint64_t)sdmin);
//	bfmin_store_parameter(3,(uint64_t)(m*4096));
}

uint32_t interpolateDac(uint32_t mod){
	float dac=sdmin+m*mod;
	if(dac>4096)
		dac=4096;
	else if(mod<smmin)
		dac=0;
	return((uint32_t)dac);
}

int16_t readThermistor(uint16_t u_ntc)
{
	//uint16_t u_ntc=1000;
	const double BALANCE_RESISTOR   = 10000.0;
	//const double MAX_ADC            = 4095.0;
	const double BETA               = 3375.0;
	const double ROOM_TEMP          = 298.15;
	const double RESISTOR_ROOM_TEMP = 10000.0;
	//double currentTemperature = 0;
  // variables that live in this function
  double rThermistor = 0;            // Holds thermistor resistance value
  double tKelvin     = 0;            // Holds calculated temperature
  float tCelsius    = 0;            // Hold temperature in celsius

  rThermistor = (BALANCE_RESISTOR * (u_ref-u_ntc))/u_ntc;
  tKelvin = (BETA * ROOM_TEMP)/(BETA + (ROOM_TEMP * log(rThermistor / RESISTOR_ROOM_TEMP)));
  tCelsius = tKelvin - 273.15;
  if(tCelsius>200)
	  tCelsius=200;
  if(tCelsius<-200)
	  tCelsius=-200;
  return (int16_t)(tCelsius*100);    // Return the temperature in Celsius
  }

// Calclation of lifetime: deviation from polyfit
uint16_t lifetime(float current, float temperature){

	uint16_t life_cal=0;
	float p1;//9.6261e-07;//0.000000554738;
	float p2;//7.5319e-03;//0.00894725823;
	float p3;//3.6230e+02;//386.0153307115;
	//0.00000055473     0.00894725823   337.01533071153
//Muster-NR319 660nm 200mW
	if (laser==1){
		p1=1.8451e-06;
		p2=1.8806e-03;
		p3=3.5548e+02;

		//200mW
		/*
	 p1=7.9674e-07; 	//3.6321e-06;//9.6261e-07;//0.000000554738;
	 p2=7.1406e-03;		//-1.0418e-02;//7.5319e-03;//0.00894725823;
	 p3=4.2635e+02;		//4.5571e+02;//3.6230e+02;//386.0153307115;
	 */
	}
//Muster-NR326 520nm 100mW
	if (laser==2){
	 p1=2.6956e-06        ;//9.6261e-07;//0.000000554738;
	 p2=  3.8446e-03    ;//7.5319e-03;//0.00894725823;
	 p3=   4.1007e+02 ;//3.6230e+02;//386.0153307115;
	}

//Muster-NR328 405nm 100mW
	if (laser==3){
	 p1= 1.6859e-06;//9.6261e-07;//0.000000554738;
	 p2= 2.4674e-03;//7.5319e-03;//0.00894725823;
	 p3= 4.0913e+02;//3.6230e+02;//386.0153307115;
	}
//1.0793e-06   6.3147e-03   3.5973e+02

	float currentc;

	currentc=p1*temperature*temperature+p2*temperature+p3;
	life_cal=(u_int16_t)(10000-50000*(current-currentc)/current);
//	if(life_cal>10000);
//		life_cal=10000;
	return life_cal;
}

uint16_t tempcomp(float current, float temperature){

	float p1=0.0000076468;
	float p2= -0.0063316042;
	float p3=1051.1463683339;
	float currentc;

	currentc=current+(temperature-3000)*0.01;
	return (u_int16_t)(currentc);
}

/* USER CODE END 4 */

void Error_Handler(void)
{
}
